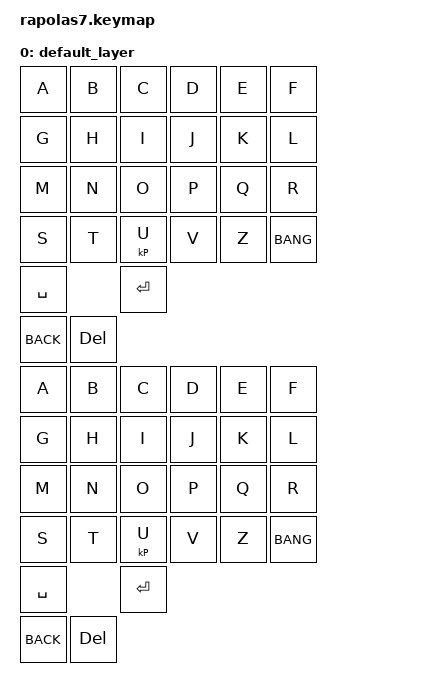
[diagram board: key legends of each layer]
#include <behaviors.dtsi>
#include <dt-bindings/zmk/keys.h>
#include <dt-bindings/zmk/bt.h>

/ {
    keymap {
        compatible = "zmk,keymap";
            default_layer { bindings = <
                &kp A &kp B &kp C &kp D &kp E &kp F 
                &kp G &kp H &kp I &kp J &kp K &kp L  
                &kp M &kp N &kp O &kp P &kp Q &kp R   
                &kp S &kp T &kP U &kp V &kp Z &kp BANG  
                &kp SPACE &kp ENTER 
                &kp BACK &kp DELETE   

                &kp A &kp B &kp C &kp D &kp E &kp F 
                &kp G &kp H &kp I &kp J &kp K &kp L  
                &kp M &kp N &kp O &kp P &kp Q &kp R   
                &kp S &kp T &kP U &kp V &kp Z &kp BANG  
                &kp SPACE &kp ENTER 
                &kp BACK &kp DELETE     
                >;};
            // number_layer { bindings = <>;};
            // symbol_layer { bindings = <>;};
            // options_layer { bindings = <>;};
        };
};
